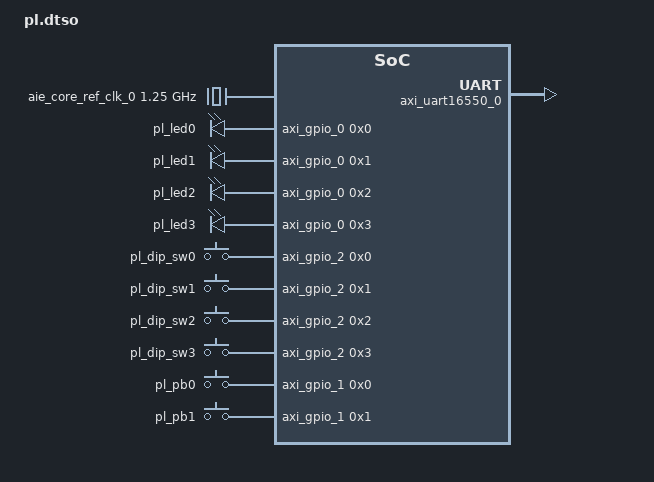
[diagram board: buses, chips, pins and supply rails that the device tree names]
/dts-v1/;
/plugin/;

&fpga {
        firmware-name = "vek280_base_pld.pdi";

        misc_clk_0: misc_clk_0 {
                #clock-cells = <0x0>;
                clock-frequency = <0x5f5e100>;
                compatible = "fixed-clock";
        };
};

&amba {

        ai_engine_0: ai_engine@20000000000 {
                xlnx,aie-site = "AIE_ML";
                xlnx,name = "ai_engine_0";
                xlnx,start-column = <0x0>;
                xlnx,name-si-axi = "S00_AXI";
                xlnx,shim-rows = /bits/ 8 <0x00 0x01>;
                xlnx,core-rows = /bits/ 8 <0x03 0x08>;
                xlnx,num-trig-out = <0x0>;
                xlnx,en-ext-rst = <0x0>;
                xlnx,nsu-dict = "NOC_NSU128_X1Y6 0x20000000000 NOC_NSU128_X2Y6 0x20002000000 NOC_NSU128_X3Y6 0x20008000000 NOC_NSU128_X4Y6 0x2000A000000 NOC_NSU128_X5Y6 0x20018000000 NOC_NSU128_X6Y6 0x20020000000 NOC_NSU128_X7Y6 0x2002C000000 NOC_NSU128_X8Y6 0x20032000000 NOC_NSU128_X9Y6 0x2003E000000 NOC_NSU128_X10Y6 0x20042000000 NOC_NSU128_X11Y6 0x20046000000 NOC_NSU128_X12Y6 0x2004A000000";
                xlnx,num-trig-in = <0x0>;
                power-domains = <&versal_firmware 0x18800000>;
                clock-names = "aclk0";
                xlnx,available-nsu = "NOC_NSU128_X1Y6 0x20000000000 NOC_NSU128_X2Y6 0x20002000000 NOC_NSU128_X3Y6 0x20008000000 NOC_NSU128_X4Y6 0x2000A000000 NOC_NSU128_X5Y6 0x20018000000 NOC_NSU128_X6Y6 0x20020000000 NOC_NSU128_X7Y6 0x2002C000000 NOC_NSU128_X8Y6 0x20032000000 NOC_NSU128_X9Y6 0x2003E000000 NOC_NSU128_X10Y6 0x20042000000 NOC_NSU128_X11Y6 0x20046000000 NOC_NSU128_X12Y6 0x2004A000000";
                xlnx,selected-nsu = <0x0>;
                xlnx,edk-iptype = "PERIPHERAL";
                xlnx,fast-dm-write;
                xlnx,name-si-axis = "S00_AXIS";
                xlnx,clk-names = "aclk0";
                xlnx,aie-core-ref-ctrl-freqmhz = <0x4e2>;
                xlnx,num-column = <0x1>;
                xlnx,name-mi-axi = "M00_AXI";
                xlnx,num-si-axis = <0x0>;
                #address-cells = <0x2>;
                xlnx,partition-enabled = <0x0>;
                xlnx,num-clks = <0x0>;
                ranges;
                xlnx,num-noc-axis-clks = <0x0>;
                clocks = <&aie_core_ref_clk_0>;
                reg = <0x200 0x0 0x1 0x0>;
                xlnx,fast-pm-write;
                xlnx,num-si-axi = <0x1>;
                #size-cells = <0x2>;
                xlnx,ip-name = "ai_engine";
                xlnx,mi-destid-pins;
                xlnx,mem-rows = /bits/ 8 <0x01 0x02>;
                xlnx,name-mi-axis = "M00_AXIS";
                xlnx,aie-gen = [02];
                xlnx,aie-max-freq = <0x4e2>;
                xlnx,en-addr-virtualization = <0x0>;
                xlnx,num-mi-axis = <0x0>;
                xlnx,aie-col-dict = "col00 0x20000000000 col01 0x20002000000 col02 0x20004000000 col03 0x20006000000 col04 0x20008000000 col05 0x2000A000000 col06 0x2000C000000 col07 0x2000E000000 col08 0x20010000000 col09 0x20012000000 col10 0x20014000000 col11 0x20016000000 col12 0x20018000000 col13 0x2001A000000 col14 0x2001C000000 col15 0x2001E000000 col16 0x20020000000 col17 0x20022000000 col18 0x20024000000 col19 0x20026000000 col20 0x20028000000 col21 0x2002A000000 col22 0x2002C000000 col23 0x2002E000000 col24 0x20030000000 col25 0x20032000000 col26 0x20034000000 col27 0x20036000000 col28 0x20038000000 col29 0x2003A000000 col30 0x2003C000000 col31 0x2003E000000 col32 0x20040000000 col33 0x20042000000 col34 0x20044000000 col35 0x20046000000 col36 0x20048000000 col37 0x2004A000000";
                xlnx,aie-ref-clk-freqmhz = <0x1fc9f08>;
                compatible = "xlnx,ai-engine-2.0", "xlnx,ai-engine-v2.0";
                xlnx,num-mi-axi = <0x0>;

                aie_aperture_0: aie_aperture@20000000000 {
                        xlnx,columns = <0x0 0x26>;
                        reg = <0x200 0x0 0x1 0x0>;
                        interrupt-names = "interrupt1", "interrupt2", "interrupt3";
                        #size-cells = <0x2>;
                        xlnx,node-id = <0x18800000>;
                        power-domains = <&versal_firmware 0x18800000>;
                        #address-cells = <0x2>;
                        interrupts = <0x0 0x94 0x4 0x0 0x95 0x4 0x0 0x96 0x4>;
                        interrupt-parent = <&gic>;
                        xlnx,device-name = <0x0>;
                };
        };

        axi_bram_ctrl_0: axi_bram_ctrl_0@a4000000 {
                xlnx,name = "axi_bram_ctrl_0";
                xlnx,s-axi-id-width = <0x1>;
                xlnx,mem-depth = <0x800>;
                xlnx,s-axi-ctrl-data-width = <0x20>;
                xlnx,bram-inst-mode = "EXTERNAL";
                xlnx,bram-addr-width = <0xb>;
                xlnx,data-width = <0x20>;
                clock-names = "s_axi_aclk";
                xlnx,edk-iptype = "PERIPHERAL";
                xlnx,ecc = <0x0>;
                xlnx,single-port-bram = <0x0>;
                xlnx,supports-narrow-burst = <0x0>;
                xlnx,s-axi-supports-narrow-burst = <0x0>;
                xlnx,id-width = <0x0>;
                xlnx,read-latency = <0x1>;
                xlnx,s-axi-ctrl-addr-width = <0x20>;
                clocks = <&misc_clk_0>;
                xlnx,bmg-instance = "EXTERNAL";
                reg = <0x0 0xa4000000 0x0 0x2000>;
                xlnx,ip-name = "axi_bram_ctrl";
                xlnx,fault-inject = <0x0>;
                xlnx,use-ecc = <0x0>;
                xlnx,memory-depth = <0x800>;
                xlnx,rd-cmd-optimization = <0x0>;
                xlnx,ecc-type = <0x0>;
                xlnx,ecc-onoff-reset-value = <0x0>;
                compatible = "xlnx,axi-bram-ctrl-4.1", "xlnx,axi-bram-ctrl";
                xlnx,edk-special = "BRAM_CTRL";
                xlnx,protocol = "AXI4";
        };

        axi_gpio_0: gpio@a6010000 {
                gpio-line-names = "pl_led0", "pl_led1", "pl_led2", "pl_led3";
                xlnx,all-inputs = <0x0>;
                xlnx,name = "axi_gpio_0";
                xlnx,tri-default = <0xffffffff>;
                xlnx,use-board-flow;
                clock-names = "s_axi_aclk";
                xlnx,gpio2-width = <0x20>;
                xlnx,dout-default-2 = <0x0>;
                xlnx,edk-iptype = "PERIPHERAL";
                xlnx,gpio2-board-interface = "Custom";
                xlnx,interrupt-present = <0x0>;
                device_type = "gpio";
                gpio-controller;
                xlnx,all-outputs-2 = <0x0>;
                clocks = <&misc_clk_0>;
                xlnx,all-inputs-2 = <0x0>;
                reg = <0x0 0xa6010000 0x0 0x10000>;
                xlnx,tri-default-2 = <0xffffffff>;
                xlnx,ip-name = "axi_gpio";
                xlnx,is-dual = <0x0>;
                xlnx,dout-default = <0x0>;
                xlnx,gpio-width = <0x4>;
                #gpio-cells = <0x2>;
                xlnx,all-outputs = <0x1>;
                compatible = "xlnx,axi-gpio-2.0", "xlnx,xps-gpio-1.00.a";
                xlnx,gpio-board-interface = "gpio_led";
        };

        axi_gpio_1: gpio@a6020000 {
                gpio-line-names = "pl_pb0", "pl_pb1";
                xlnx,all-inputs = <0x1>;
                xlnx,name = "axi_gpio_1";
                xlnx,tri-default = <0xffffffff>;
                xlnx,use-board-flow;
                clock-names = "s_axi_aclk";
                xlnx,gpio2-width = <0x20>;
                xlnx,dout-default-2 = <0x0>;
                xlnx,edk-iptype = "PERIPHERAL";
                xlnx,gpio2-board-interface = "Custom";
                xlnx,interrupt-present = <0x0>;
                device_type = "gpio";
                gpio-controller;
                xlnx,all-outputs-2 = <0x0>;
                clocks = <&misc_clk_0>;
                xlnx,all-inputs-2 = <0x0>;
                reg = <0x0 0xa6020000 0x0 0x10000>;
                xlnx,tri-default-2 = <0xffffffff>;
                xlnx,ip-name = "axi_gpio";
                xlnx,is-dual = <0x0>;
                xlnx,dout-default = <0x0>;
                xlnx,gpio-width = <0x2>;
                #gpio-cells = <0x2>;
                xlnx,all-outputs = <0x0>;
                compatible = "xlnx,axi-gpio-2.0", "xlnx,xps-gpio-1.00.a";
                xlnx,gpio-board-interface = "gpio_pb";
        };

        axi_gpio_2: gpio@a6030000 {
                gpio-line-names = "pl_dip_sw0", "pl_dip_sw1", "pl_dip_sw2", "pl_dip_sw3";
                xlnx,all-inputs = <0x1>;
                xlnx,name = "axi_gpio_2";
                xlnx,tri-default = <0xffffffff>;
                xlnx,use-board-flow;
                clock-names = "s_axi_aclk";
                xlnx,gpio2-width = <0x20>;
                xlnx,dout-default-2 = <0x0>;
                xlnx,edk-iptype = "PERIPHERAL";
                xlnx,gpio2-board-interface = "Custom";
                xlnx,interrupt-present = <0x0>;
                device_type = "gpio";
                gpio-controller;
                xlnx,all-outputs-2 = <0x0>;
                clocks = <&misc_clk_0>;
                xlnx,all-inputs-2 = <0x0>;
                reg = <0x0 0xa6030000 0x0 0x10000>;
                xlnx,tri-default-2 = <0xffffffff>;
                xlnx,ip-name = "axi_gpio";
                xlnx,is-dual = <0x0>;
                xlnx,dout-default = <0x0>;
                xlnx,gpio-width = <0x4>;
                #gpio-cells = <0x2>;
                xlnx,all-outputs = <0x0>;
                compatible = "xlnx,axi-gpio-2.0", "xlnx,xps-gpio-1.00.a";
                xlnx,gpio-board-interface = "gpio_dp";
        };

        axi_uart16550_0: serial@a6000000 {
                xlnx,name = "axi_uart16550_0";
                xlnx,is-a-16550 = <0x1>;
                xlnx,base-user = <0x1>;
                xlnx,use-board-flow;
                clock-names = "s_axi_aclk";
                xlnx,clock-freq = <0x5f5e100>;
                xlnx,external-xin-clk-hz-d = <0x19>;
                xlnx,edk-iptype = "PERIPHERAL";
                device_type = "serial";
                xlnx,use-modem-ports = <0x1>;
                clocks = <&misc_clk_0>;
                xlnx,has-external-xin = <0x0>;
                reg = <0x0 0xa6000000 0x0 0x10000>;
                xlnx,ip-name = "axi_uart16550";
                xlnx,uart-board-interface = "sysctrl_uart";
                xlnx,sim-device = "VERSAL_AI_EDGE";
                xlnx,use-user-ports = <0x1>;
                xlnx,s-axi-aclk-freq-hz-d = <0x64>;
                xlnx,has-external-rclk = <0x0>;
                xlnx,external-xin-clk-hz = <0x17d7840>;
                compatible = "xlnx,axi-uart16550-2.0", "xlnx,axi-uart16550";
        };

        aie_core_ref_clk_0: aie_core_ref_clk_0 {
                #clock-cells = <0x0>;
                clock-frequency = <0x4a817c80>;
                compatible = "fixed-clock";
        };

        zyxclmm_drm {
                compatible = "xlnx,zocl-versal";
                interrupt-parent = <&gic>;
                interrupts = <0x0 0x89 0x4 0x0 0x90 0x4 0x0 0x91 0x4 0x0 0x92 0x4 0x0 0x93 0x4 0x0 0x94 0x4 0x0 0x95 0x4 0x0 0x96 0x4>;
        };

        leds {
                compatible = "gpio-leds";

                pl_led0: led-0 {
                        default-state = "off";
                        gpios = <&axi_gpio_0 0x0 0x0>;
                        label = "pl_led0";
                };

                pl_led1: led-1 {
                        default-state = "off";
                        gpios = <&axi_gpio_0 0x1 0x0>;
                        label = "pl_led1";
                };

                pl_led2: led-2 {
                        default-state = "off";
                        gpios = <&axi_gpio_0 0x2 0x0>;
                        label = "pl_led2";
                };

                pl_led3: led-3 {
                        default-state = "off";
                        gpios = <&axi_gpio_0 0x3 0x0>;
                        label = "pl_led3";
                };
        };

        pl_gpio_keys: gpio-keys {
                poll-interval = <0x64>;
                label = "pl-gpio-keys";
                compatible = "gpio-keys-polled";

                pl_dip_sw0 {
                        linux,code = <0x100>;
                        gpios = <&axi_gpio_2 0x0 0x0>;
                        label = "pl_dip_sw0";
                };

                pl_dip_sw1 {
                        linux,code = <0x101>;
                        gpios = <&axi_gpio_2 0x1 0x0>;
                        label = "pl_dip_sw1";
                };

                pl_dip_sw2 {
                        linux,code = <0x102>;
                        gpios = <&axi_gpio_2 0x2 0x0>;
                        label = "pl_dip_sw2";
                };

                pl_dip_sw3 {
                        linux,code = <0x103>;
                        gpios = <&axi_gpio_2 0x3 0x0>;
                        label = "pl_dip_sw3";
                };

                pl_pb0 {
                        debounce-interval = <0xa>;
                        linux,code = <0x104>;
                        gpios = <&axi_gpio_1 0x0 0x0>;
                        label = "pl_pb0";
                };

                pl_pb1 {
                        debounce-interval = <0xa>;
                        linux,code = <0x105>;
                        gpios = <&axi_gpio_1 0x1 0x0>;
                        label = "pl_pb1";
                };
        };
};

